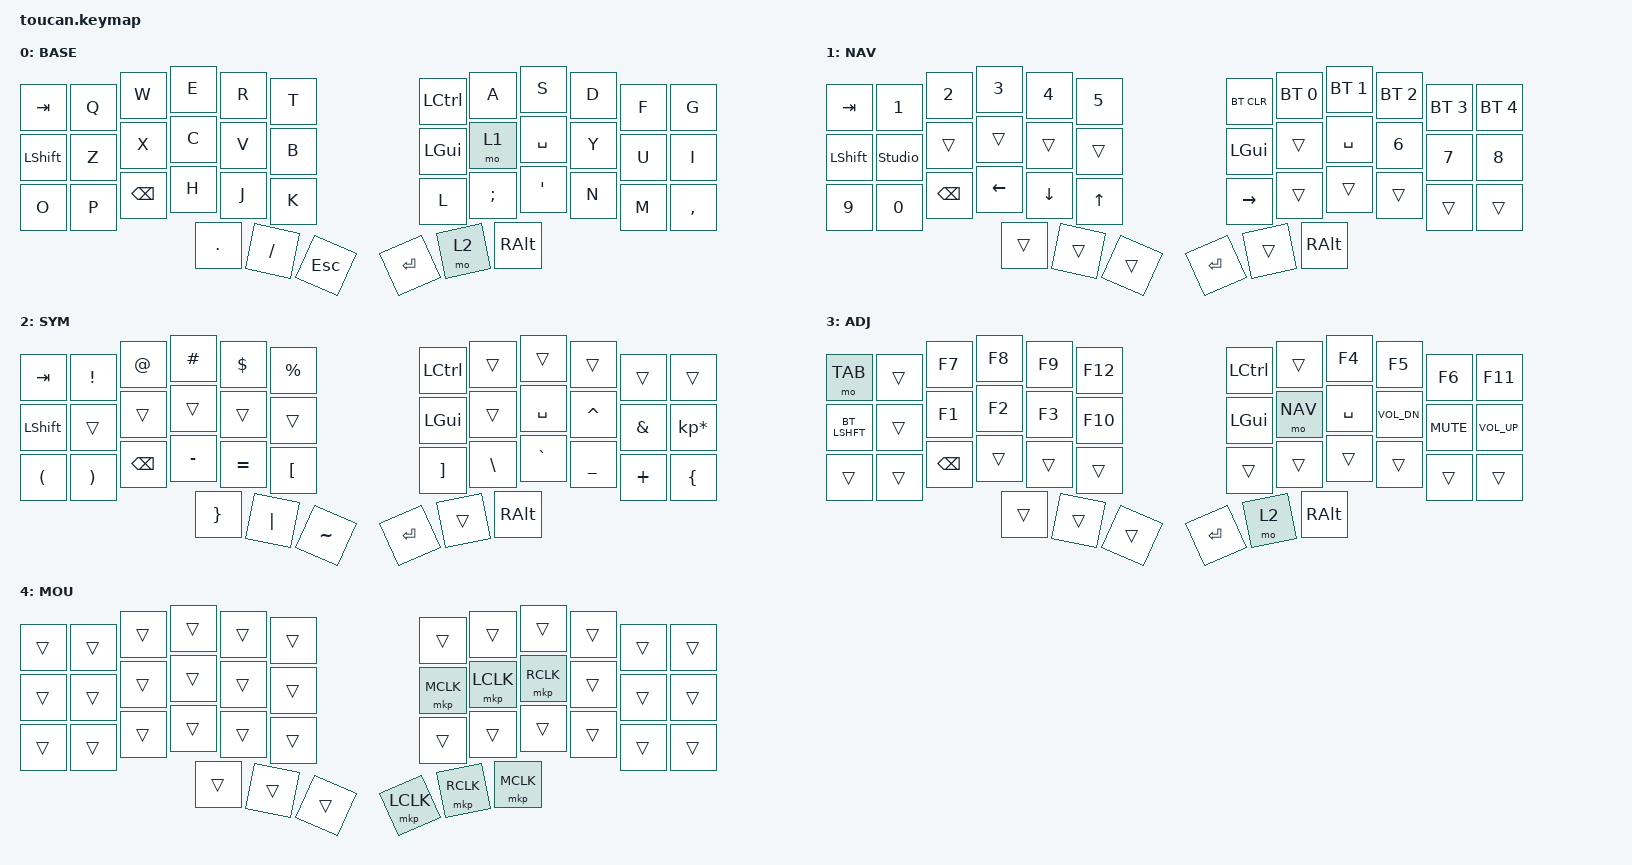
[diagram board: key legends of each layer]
#include <behaviors.dtsi>
#include <dt-bindings/zmk/keys.h>
#include <dt-bindings/zmk/bt.h>
#include <dt-bindings/zmk/outputs.h>
#include <dt-bindings/zmk/pointing.h>

#define BASE 0
#define NAV  1
#define SYM  2
#define ADJ  3

/ {
    conditional_layers {
        compatible = "zmk,conditional-layers";
        tri_layer {
            if-layers = <1 2>;
            then-layer = <3>;
        };
    };

    keymap {
        compatible = "zmk,keymap";

        base {
            display-name = "BASE";
            bindings = <
                &kp TAB   &kp Q &kp W &kp E &kp R &kp T 
                &kp LCTRL &kp A &kp S &kp D &kp F &kp G 
                &kp LSHFT &kp Z &kp X &kp C &kp V &kp B 
                                &kp LGUI &mo 1 &kp SPACE
                     &kp Y &kp U  &kp I     &kp O   &kp P    &kp BSPC
                     &kp H &kp J  &kp K     &kp L   &kp SEMI &kp SQT
                     &kp N &kp M  &kp COMMA &kp DOT &kp FSLH &kp ESC
                      &kp RET &mo 2 &kp RALT
            >;
        };

        nav {
            display-name = "NAV";
            bindings = <
                &kp TAB     &kp N1          &kp N2       &kp N3       &kp N4       &kp N5       
                &bt BT_CLR  &bt BT_SEL 0    &bt BT_SEL 1 &bt BT_SEL 2 &bt BT_SEL 3 &bt BT_SEL 4 
                &kp LSHFT   &studio_unlock  &trans       &trans       &trans       &trans       
                                                &kp LGUI     &trans       &kp SPACE
                         &kp N6   &kp N7   &kp N8 &kp N9    &kp N0 &kp BSPC
                         &kp LEFT &kp DOWN &kp UP &kp RIGHT &trans &trans
                         &trans   &trans   &trans &trans    &trans &trans
                &kp RET  &trans   &kp RALT
            >;
        };

        sym {
            display-name = "SYM";
            bindings = <
                &kp TAB   &kp EXCL &kp AT &kp HASH &kp DLLR &kp PRCNT
                &kp LCTRL &trans   &trans &trans   &trans   &trans   
                &kp LSHFT &trans   &trans &trans   &trans   &trans   
                                          &kp LGUI &trans   &kp SPACE
                &kp CARET &kp AMPS  &kp KP_MULTIPLY &kp LPAR &kp RPAR &kp BSPC
                &kp MINUS &kp EQUAL &kp LBKT        &kp RBKT &kp BSLH &kp GRAVE
                &kp UNDER &kp PLUS  &kp LBRC        &kp RBRC &kp PIPE &kp TILDE
                &kp RET   &trans    &kp RALT
            >;
        };

        adj {
            display-name = "ADJ";
            bindings = <
                &mo TAB   &trans &kp F7 &kp F8 &kp F9 &kp F12
                &kp LCTRL &trans &kp F4 &kp F5 &kp F6 &kp F11
                &bt LSHFT &trans &kp F1 &kp F2 &kp F3 &kp F10
                                   &kp LGUI &mo NAV &kp SPACE
                &kp C_VOL_DN &kp C_MUTE  &kp C_VOL_UP &trans &trans &kp BSPC
                &trans       &trans      &trans       &trans &trans &trans
                &trans       &trans      &trans       &trans &trans &trans
                &kp RET &mo 2 &kp RALT
            >;
        };

        mouse {
            display-name = "MOU";
            bindings = <
                &trans &trans &trans &trans &trans &trans
                &trans &trans &trans &trans &trans &trans
                &trans &trans &trans &trans &trans &trans
                            &mkp MCLK &mkp LCLK &mkp RCLK
                   &trans &trans &trans &trans &trans &trans
                   &trans &trans &trans &trans &trans &trans
                   &trans &trans &trans &trans &trans &trans
                   &mkp LCLK &mkp RCLK &mkp MCLK
            >;
        };

        extra_2 {
                status = "reserved";
        };

        extra_3 {
                status = "reserved";
        };
    };
};
